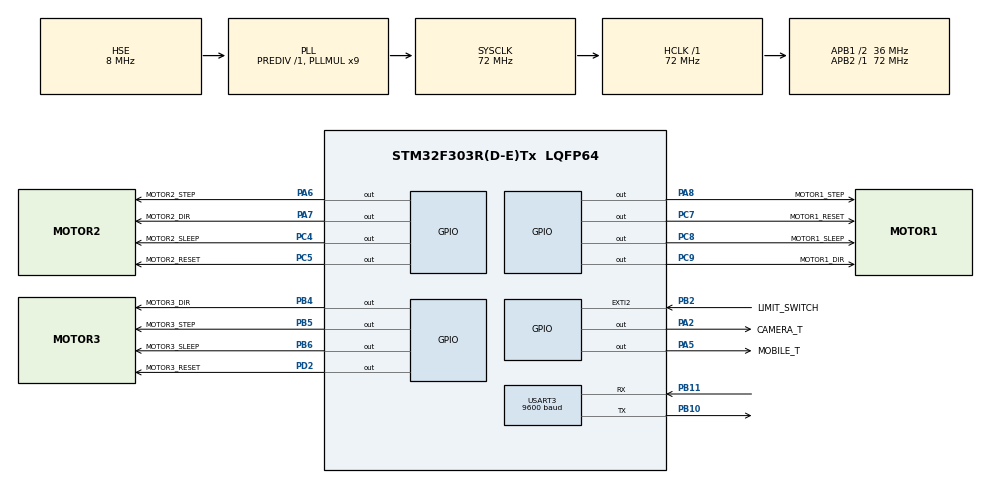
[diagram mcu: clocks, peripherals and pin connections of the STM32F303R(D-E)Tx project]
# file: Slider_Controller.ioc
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Mcu.Family=STM32F3
Mcu.Name=STM32F303R(D-E)Tx
Mcu.Package=LQFP64
NVIC.PriorityGroup=NVIC_PRIORITYGROUP_4
NVIC.TIM6_DAC_IRQn=true\:0\:0\:false\:false\:true\:true\:true
NVIC.TIM7_IRQn=true\:0\:0\:false\:false\:true\:true\:true
NVIC.USART3_IRQn=true\:0\:0\:false\:false\:true\:true\:true
PA13.Mode=Trace_Asynchronous_SW
PA13.Signal=SYS_JTMS-SWDIO
PA14.Mode=Trace_Asynchronous_SW
PA14.Signal=SYS_JTCK-SWCLK
PA2.GPIO_Label=CAMERA_T
PA2.PinState=GPIO_PIN_SET
PA2.Signal=GPIO_Output
PA5.GPIO_Label=MOBILE_T
PA5.GPIO_PuPd=GPIO_NOPULL
PA5.PinState=GPIO_PIN_SET
PA5.Signal=GPIO_Output
PA6.GPIO_Label=MOTOR2_STEP
PA6.Signal=GPIO_Output
PA7.GPIO_Label=MOTOR2_DIR
PA7.Signal=GPIO_Output
PA8.GPIO_Label=MOTOR1_STEP
PA8.Signal=GPIO_Output
PB10.Mode=Asynchronous
PB10.Signal=USART3_TX
PB11.Mode=Asynchronous
PB11.Signal=USART3_RX
PB2.GPIO_Label=LIMIT_SWITCH
PB2.GPIO_ModeDefaultEXTI=GPIO_MODE_IT_RISING
PB2.GPIO_PuPd=GPIO_PULLUP
PB2.Signal=GPXTI2
PB3.Mode=Trace_Asynchronous_SW
PB3.Signal=SYS_JTDO-TRACESWO
PB4.GPIO_Label=MOTOR3_DIR
PB4.Signal=GPIO_Output
PB5.GPIO_Label=MOTOR3_STEP
PB5.Signal=GPIO_Output
PB6.GPIO_Label=MOTOR3_SLEEP
PB6.Signal=GPIO_Output
PC4.GPIO_Label=MOTOR2_SLEEP
PC4.Signal=GPIO_Output
PC5.GPIO_Label=MOTOR2_RESET
PC5.Signal=GPIO_Output
PC7.GPIO_Label=MOTOR1_RESET
PC7.Signal=GPIO_Output
PC8.GPIO_Label=MOTOR1_SLEEP
PC8.Signal=GPIO_Output
PC9.GPIO_Label=MOTOR1_DIR
PC9.Signal=GPIO_Output
PD2.GPIO_Label=MOTOR3_RESET
PD2.Signal=GPIO_Output
PF0-OSC_IN.Mode=HSE-External-Oscillator
PF0-OSC_IN.Signal=RCC_OSC_IN
PF1-OSC_OUT.Mode=HSE-External-Oscillator
PF1-OSC_OUT.Signal=RCC_OSC_OUT
ProjectManager.HeapSize=0x200
ProjectManager.StackSize=0x400
ProjectManager.TargetToolchain=STM32CubeIDE
RCC.AHBFreq_Value=72000000
RCC.APB1CLKDivider=RCC_HCLK_DIV2
RCC.APB1Freq_Value=36000000
RCC.APB1TimFreq_Value=72000000
RCC.APB2Freq_Value=72000000
RCC.APB2TimFreq_Value=72000000
RCC.CortexFreq_Value=72000000
RCC.HCLKFreq_Value=72000000
RCC.HSE_VALUE=8000000
RCC.HSI_VALUE=8000000
RCC.LSE_VALUE=32768
RCC.PLLMUL=RCC_PLL_MUL9
RCC.PLLSourceVirtual=RCC_PLLSOURCE_HSE
RCC.SYSCLKFreq_VALUE=72000000
RCC.SYSCLKSourceVirtual=RCC_SYSCLKSOURCE_PLLCLK
RCC.USBFreq_Value=72000000
TIM6.Period=999
TIM6.Prescaler=71
TIM7.AutoReloadPreload=TIM_AUTORELOAD_PRELOAD_ENABLE
TIM7.Period=999
TIM7.Prescaler=71
TIM7.TIM_MasterOutputTrigger=TIM_TRGO_RESET
USART3.BaudRate=9600
USART3.VirtualMode-Asynchronous=VM_ASYNC
VP_TIM6_VS_ClockSourceINT.Mode=Enable_Timer
VP_TIM7_VS_ClockSourceINT.Mode=Enable_Timer
board=custom

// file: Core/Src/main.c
/* USER CODE BEGIN Header */
/**
 ******************************************************************************
 * @file           : main.c
 * @brief          : Main program body
 ******************************************************************************
 * @attention
 *
 * <h2><center>&copy; Copyright (c) 2020 STMicroelectronics.
 * All rights reserved.</center></h2>
 *
 * This software component is licensed by ST under BSD 3-Clause license,
 * the "License"; You may not use this file except in compliance with the
 * License. You may obtain a copy of the License at:
 *                        opensource.org/licenses/BSD-3-Clause
 *
 ******************************************************************************
 */
/* USER CODE END Header */
#include "main.h"
#include "tim.h"
#include "usart.h"
#include "gpio.h"

/* USER CODE BEGIN Includes */
#include "setter.h"
#include "Interrupt.h"
#include "self_timer.h"
#include "parametr.h"
/* USER CODE END Includes */

/* USER CODE BEGIN PV */
extern Motor_T Motor_set[MOTORS_NUM];
extern Trigger_T timer_T;
extern DataReadEnum DataRead;
/* USER CODE END PV */

void SystemClock_Config(void);

int main(void)
{

  /* MCU Configuration--------------------------------------------------------*/

  /* Reset of all peripherals, Initializes the Flash interface and the Systick. */
  HAL_Init();

  /* Configure the system clock */
  SystemClock_Config();

  /* Initialize all configured peripherals */
  MX_GPIO_Init();
  MX_TIM6_Init();
  MX_USART3_UART_Init();
  MX_TIM7_Init();
  /* USER CODE BEGIN 2 */
	add_motors(Motor_set);
	HAL_UART_Receive_IT(&huart3, (uint16_t*) data, 2);
	while (data_unavailable == DataRead)
		DataRead = DataReceive(data);
	//Waiting for data
	UART_WriteData(Motor_set, data, &timer_T);
	init_t(&timer_T, Motor_set);
	for (int i = 0; i < MOTORS_NUM; i++) {
		Motor_Init(Motor_set + i);
		if (i == 0)
			set(Motor_set);
		else
			set_for_angle(Motor_set + i);
	}
	motorStartMove(Motor_set);
	motorStartMove(&Motor_set[1]);
	motorStartMove(&Motor_set[2]);
	while(data_confirm != DataRead)
		DataRead = DataReceive(data);
	HAL_TIM_Base_Start_IT(&htim6);
	HAL_TIM_Base_Start_IT(&htim7);
	UART_startmove();

  /* USER CODE END 2 */

  /* Infinite loop */
  /* USER CODE BEGIN WHILE */
	while (1) {
		if(data_stop == DataReceive(data))
		{
			for(int i=0;i<MOTORS_NUM;++i)
				motorStop(Motor_set+i);
			HAL_TIM_Base_Stop_IT(&htim7);
		}
    /* USER CODE END WHILE */

	}
}

void SystemClock_Config(void)
{
  RCC_OscInitTypeDef RCC_OscInitStruct = {0};
  RCC_ClkInitTypeDef RCC_ClkInitStruct = {0};
  RCC_PeriphCLKInitTypeDef PeriphClkInit = {0};

  /** Initializes the RCC Oscillators according to the specified parameters
  * in the RCC_OscInitTypeDef structure.
  */
  RCC_OscInitStruct.OscillatorType = RCC_OSCILLATORTYPE_HSE;
  RCC_OscInitStruct.HSEState = RCC_HSE_ON;
  RCC_OscInitStruct.HSIState = RCC_HSI_ON;
  RCC_OscInitStruct.PLL.PLLState = RCC_PLL_ON;
  RCC_OscInitStruct.PLL.PLLSource = RCC_PLLSOURCE_HSE;
  RCC_OscInitStruct.PLL.PLLMUL = RCC_PLL_MUL9;
  RCC_OscInitStruct.PLL.PREDIV = RCC_PREDIV_DIV1;
  if (HAL_RCC_OscConfig(&RCC_OscInitStruct) != HAL_OK)
  {
    Error_Handler();
  }
  /** Initializes the CPU, AHB and APB buses clocks
  */
  RCC_ClkInitStruct.ClockType = RCC_CLOCKTYPE_HCLK|RCC_CLOCKTYPE_SYSCLK
                              |RCC_CLOCKTYPE_PCLK1|RCC_CLOCKTYPE_PCLK2;
  RCC_ClkInitStruct.SYSCLKSource = RCC_SYSCLKSOURCE_PLLCLK;
  RCC_ClkInitStruct.AHBCLKDivider = RCC_SYSCLK_DIV1;
  RCC_ClkInitStruct.APB1CLKDivider = RCC_HCLK_DIV2;
  RCC_ClkInitStruct.APB2CLKDivider = RCC_HCLK_DIV1;

  if (HAL_RCC_ClockConfig(&RCC_ClkInitStruct, FLASH_LATENCY_2) != HAL_OK)
  {
    Error_Handler();
  }
  PeriphClkInit.PeriphClockSelection = RCC_PERIPHCLK_USART3;
  PeriphClkInit.Usart3ClockSelection = RCC_USART3CLKSOURCE_PCLK1;
  if (HAL_RCCEx_PeriphCLKConfig(&PeriphClkInit) != HAL_OK)
  {
    Error_Handler();
  }
}

void Error_Handler(void)
{
}

/************************ (C) COPYRIGHT STMicroelectronics *****END OF FILE****/
